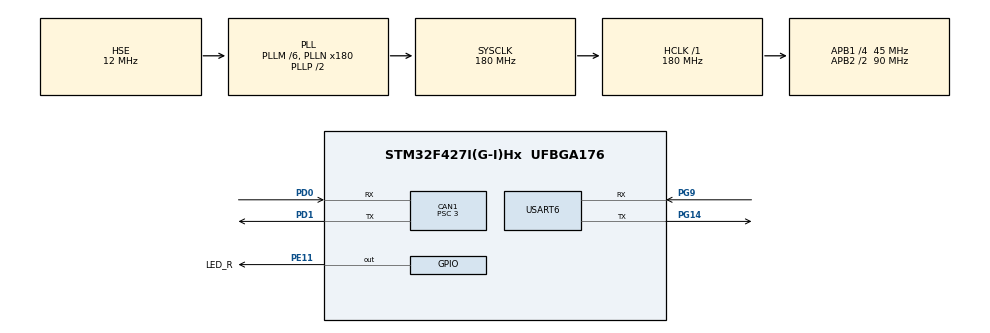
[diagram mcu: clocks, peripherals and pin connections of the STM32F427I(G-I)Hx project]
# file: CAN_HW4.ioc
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CAN1.ABOM=ENABLE
CAN1.BS1=CAN_BS1_10TQ
CAN1.BS2=CAN_BS2_4TQ
CAN1.CalculateBaudRate=1000000
CAN1.CalculateTimeBit=1000
CAN1.CalculateTimeQuantum=66.66666666666666
CAN1.Prescaler=3
Dma.Request0=USART6_RX
Dma.Request1=USART6_TX
Dma.USART6_RX.0.Direction=DMA_PERIPH_TO_MEMORY
Dma.USART6_RX.0.FIFOMode=DMA_FIFOMODE_DISABLE
Dma.USART6_RX.0.Instance=DMA2_Stream1
Dma.USART6_RX.0.MemDataAlignment=DMA_MDATAALIGN_BYTE
Dma.USART6_RX.0.MemInc=DMA_MINC_ENABLE
Dma.USART6_RX.0.Mode=DMA_NORMAL
Dma.USART6_RX.0.PeriphDataAlignment=DMA_PDATAALIGN_BYTE
Dma.USART6_RX.0.PeriphInc=DMA_PINC_DISABLE
Dma.USART6_RX.0.Priority=DMA_PRIORITY_VERY_HIGH
Dma.USART6_TX.1.Direction=DMA_MEMORY_TO_PERIPH
Dma.USART6_TX.1.FIFOMode=DMA_FIFOMODE_DISABLE
Dma.USART6_TX.1.Instance=DMA2_Stream6
Dma.USART6_TX.1.MemDataAlignment=DMA_MDATAALIGN_BYTE
Dma.USART6_TX.1.MemInc=DMA_MINC_ENABLE
Dma.USART6_TX.1.Mode=DMA_NORMAL
Dma.USART6_TX.1.PeriphDataAlignment=DMA_PDATAALIGN_BYTE
Dma.USART6_TX.1.PeriphInc=DMA_PINC_DISABLE
Dma.USART6_TX.1.Priority=DMA_PRIORITY_VERY_HIGH
Mcu.Family=STM32F4
Mcu.Name=STM32F427I(G-I)Hx
Mcu.Package=UFBGA176
NVIC.CAN1_RX0_IRQn=true\:0\:0\:true\:false\:true\:true\:true\:true
NVIC.DMA2_Stream1_IRQn=true\:0\:0\:false\:false\:true\:false\:true\:true
NVIC.DMA2_Stream6_IRQn=true\:0\:0\:false\:false\:true\:false\:true\:true
NVIC.PriorityGroup=NVIC_PRIORITYGROUP_4
NVIC.USART6_IRQn=true\:0\:0\:false\:false\:true\:true\:true\:true
PA13.Mode=Serial_Wire
PA13.Signal=SYS_JTMS-SWDIO
PA14.Mode=Serial_Wire
PA14.Signal=SYS_JTCK-SWCLK
PD0.Mode=CAN_Activate
PD0.Signal=CAN1_RX
PD1.Mode=CAN_Activate
PD1.Signal=CAN1_TX
PE11.GPIO_Label=LED_R
PE11.Signal=GPIO_Output
PG14.Mode=Asynchronous
PG14.Signal=USART6_TX
PG9.Mode=Asynchronous
PG9.Signal=USART6_RX
PH0/OSC_IN.Mode=HSE-External-Oscillator
PH0/OSC_IN.Signal=RCC_OSC_IN
PH1/OSC_OUT.Mode=HSE-External-Oscillator
PH1/OSC_OUT.Signal=RCC_OSC_OUT
ProjectManager.HeapSize=0x200
ProjectManager.StackSize=0x400
ProjectManager.TargetToolchain=MDK-ARM V5.32
RCC.48MHZClocksFreq_Value=90000000
RCC.AHBFreq_Value=180000000
RCC.APB1CLKDivider=RCC_HCLK_DIV4
RCC.APB1Freq_Value=45000000
RCC.APB1TimFreq_Value=90000000
RCC.APB2CLKDivider=RCC_HCLK_DIV2
RCC.APB2Freq_Value=90000000
RCC.APB2TimFreq_Value=180000000
RCC.CortexFreq_Value=180000000
RCC.HCLKFreq_Value=180000000
RCC.HSE_VALUE=12000000
RCC.HSI_VALUE=16000000
RCC.LSE_VALUE=32768
RCC.PLLM=6
RCC.PLLN=180
RCC.PLLSourceVirtual=RCC_PLLSOURCE_HSE
RCC.SYSCLKFreq_VALUE=180000000
RCC.SYSCLKSource=RCC_SYSCLKSOURCE_PLLCLK
RCC.VCOOutputFreq_Value=360000000
USART6.VirtualMode=VM_ASYNC
board=custom

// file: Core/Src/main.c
/* USER CODE BEGIN Header */
/**
  ******************************************************************************
  * @file           : main.c
  * @brief          : Main program body
  ******************************************************************************
  * @attention
  *
  * Copyright (c) 2024 STMicroelectronics.
  * All rights reserved.
  *
  * This software is licensed under terms that can be found in the LICENSE file
  * in the root directory of this software component.
  * If no LICENSE file comes with this software, it is provided AS-IS.
  *
  ******************************************************************************
  */
/* USER CODE END Header */
#include "main.h"
#include "can.h"
#include "dma.h"
#include "usart.h"
#include "gpio.h"

/* USER CODE BEGIN PD */
CAN_RxHeaderTypeDef RxHeader;
CAN_TxHeaderTypeDef TxHeader={0x201,0,CAN_ID_STD,CAN_RTR_DATA, 8, DISABLE};
uint8_t RxData[8];
uint8_t TxData[8]={0x00,0x00,0x00,0x30,0x00,0x00,0x00,0x00};
uint32_t TxMailbox=CAN_TX_MAILBOX0;
/* USER CODE END PD */

void SystemClock_Config(void);

int main(void)
{

  /* MCU Configuration--------------------------------------------------------*/

  /* Reset of all peripherals, Initializes the Flash interface and the Systick. */
  HAL_Init();

  /* Configure the system clock */
  SystemClock_Config();

  /* Initialize all configured peripherals */
  MX_GPIO_Init();
  MX_DMA_Init();
  MX_CAN1_Init();
  MX_USART6_UART_Init();
  /* USER CODE BEGIN 2 */
  CAN_FilterTypeDef FilterConfig =
            {
    FilterConfig.FilterIdHigh=0x0000,
    FilterConfig.FilterIdLow=0x0000,
    FilterConfig.FilterMaskIdHigh=0x0000,
    FilterConfig.FilterMaskIdLow=0x0000,
    FilterConfig.FilterFIFOAssignment=CAN_FILTER_FIFO0,
    FilterConfig.FilterBank=14,
    FilterConfig.FilterMode=CAN_FILTERMODE_IDMASK,
    FilterConfig.FilterScale=CAN_FILTERSCALE_32BIT,
    FilterConfig.FilterActivation=CAN_FILTER_ENABLE,
    FilterConfig.SlaveStartFilterBank=0
    };
  HAL_CAN_ConfigFilter(&hcan1,&FilterConfig);
  HAL_CAN_Start(&hcan1);
  HAL_CAN_ActivateNotification(&hcan1, CAN_IT_RX_FIFO0_MSG_PENDING);
  /* USER CODE END 2 */

  /* Infinite loop */
  /* USER CODE BEGIN WHILE */
  while (1)
  {
    if(HAL_CAN_AddTxMessage(&hcan1,&TxHeader,TxData,&TxMailbox)==HAL_OK)
    {
      HAL_GPIO_TogglePin(LED_R_GPIO_Port,LED_R_Pin);
    }
    HAL_Delay(1000);
    /* USER CODE END WHILE */

  }
}

void SystemClock_Config(void)
{
  RCC_OscInitTypeDef RCC_OscInitStruct = {0};
  RCC_ClkInitTypeDef RCC_ClkInitStruct = {0};

  /** Configure the main internal regulator output voltage
  */
  __HAL_RCC_PWR_CLK_ENABLE();
  __HAL_PWR_VOLTAGESCALING_CONFIG(PWR_REGULATOR_VOLTAGE_SCALE1);

  /** Initializes the RCC Oscillators according to the specified parameters
  * in the RCC_OscInitTypeDef structure.
  */
  RCC_OscInitStruct.OscillatorType = RCC_OSCILLATORTYPE_HSE;
  RCC_OscInitStruct.HSEState = RCC_HSE_ON;
  RCC_OscInitStruct.PLL.PLLState = RCC_PLL_ON;
  RCC_OscInitStruct.PLL.PLLSource = RCC_PLLSOURCE_HSE;
  RCC_OscInitStruct.PLL.PLLM = 6;
  RCC_OscInitStruct.PLL.PLLN = 180;
  RCC_OscInitStruct.PLL.PLLP = RCC_PLLP_DIV2;
  RCC_OscInitStruct.PLL.PLLQ = 4;
  if (HAL_RCC_OscConfig(&RCC_OscInitStruct) != HAL_OK)
  {
    Error_Handler();
  }

  /** Activate the Over-Drive mode
  */
  if (HAL_PWREx_EnableOverDrive() != HAL_OK)
  {
    Error_Handler();
  }

  /** Initializes the CPU, AHB and APB buses clocks
  */
  RCC_ClkInitStruct.ClockType = RCC_CLOCKTYPE_HCLK|RCC_CLOCKTYPE_SYSCLK
                              |RCC_CLOCKTYPE_PCLK1|RCC_CLOCKTYPE_PCLK2;
  RCC_ClkInitStruct.SYSCLKSource = RCC_SYSCLKSOURCE_PLLCLK;
  RCC_ClkInitStruct.AHBCLKDivider = RCC_SYSCLK_DIV1;
  RCC_ClkInitStruct.APB1CLKDivider = RCC_HCLK_DIV4;
  RCC_ClkInitStruct.APB2CLKDivider = RCC_HCLK_DIV2;

  if (HAL_RCC_ClockConfig(&RCC_ClkInitStruct, FLASH_LATENCY_5) != HAL_OK)
  {
    Error_Handler();
  }
}

void Error_Handler(void)
{
  __disable_irq();
  while (1)
  {
  }
}
